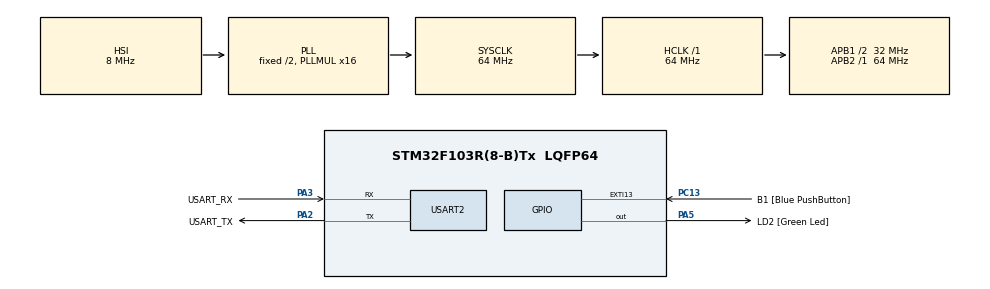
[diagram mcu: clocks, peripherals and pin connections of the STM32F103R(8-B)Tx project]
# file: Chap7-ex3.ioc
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Mcu.Family=STM32F1
Mcu.Name=STM32F103R(8-B)Tx
Mcu.Package=LQFP64
NVIC.EXTI15_10_IRQn=true\:0\:0\:false\:false\:true\:true\:true\:true
NVIC.PriorityGroup=NVIC_PRIORITYGROUP_4
PA13.GPIO_Label=TMS
PA13.Mode=Serial_Wire
PA13.Signal=SYS_JTMS-SWDIO
PA14.GPIO_Label=TCK
PA14.Mode=Serial_Wire
PA14.Signal=SYS_JTCK-SWCLK
PA2.GPIO_Label=USART_TX
PA2.GPIO_Mode=GPIO_MODE_AF_PP
PA2.GPIO_PuPd=GPIO_NOPULL
PA2.GPIO_Speed=GPIO_SPEED_FREQ_LOW
PA2.Mode=Asynchronous
PA2.Signal=USART2_TX
PA3.GPIO_Label=USART_RX
PA3.GPIO_Mode=GPIO_MODE_AF_PP
PA3.GPIO_PuPd=GPIO_NOPULL
PA3.GPIO_Speed=GPIO_SPEED_FREQ_LOW
PA3.Mode=Asynchronous
PA3.Signal=USART2_RX
PA5.GPIO_Label=LD2 [Green Led]
PA5.GPIO_ModeDefaultOutputPP=GPIO_MODE_OUTPUT_PP
PA5.GPIO_PuPd=GPIO_NOPULL
PA5.GPIO_Speed=GPIO_SPEED_FREQ_LOW
PA5.Signal=GPIO_Output
PB3.GPIO_Label=SWO
PB3.Signal=SYS_JTDO-TRACESWO
PC13-TAMPER-RTC.GPIO_Label=B1 [Blue PushButton]
PC13-TAMPER-RTC.GPIO_PuPd=GPIO_NOPULL
PC13-TAMPER-RTC.Signal=GPXTI13
PC14-OSC32_IN.Mode=LSE-External-Oscillator
PC14-OSC32_IN.Signal=RCC_OSC32_IN
PC15-OSC32_OUT.Mode=LSE-External-Oscillator
PC15-OSC32_OUT.Signal=RCC_OSC32_OUT
PD0-OSC_IN.Mode=HSE-External-Clock-Source
PD0-OSC_IN.Signal=RCC_OSC_IN
PD1-OSC_OUT.Mode=HSE-External-Clock-Source
PD1-OSC_OUT.Signal=RCC_OSC_OUT
ProjectManager.HeapSize=0x200
ProjectManager.StackSize=0x400
ProjectManager.TargetToolchain=STM32CubeIDE
RCC.AHBFreq_Value=64000000
RCC.APB1CLKDivider=RCC_HCLK_DIV2
RCC.APB1Freq_Value=32000000
RCC.APB1TimFreq_Value=64000000
RCC.APB2Freq_Value=64000000
RCC.APB2TimFreq_Value=64000000
RCC.HCLKFreq_Value=64000000
RCC.PLLMUL=RCC_PLL_MUL16
RCC.RTCClockSelection=RCC_RTCCLKSOURCE_LSE
RCC.SYSCLKFreq_VALUE=64000000
RCC.SYSCLKSource=RCC_SYSCLKSOURCE_PLLCLK
RCC.USBFreq_Value=64000000
USART2.VirtualMode=VM_ASYNC
board=NUCLEO-F103RB

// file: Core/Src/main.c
/* USER CODE BEGIN Header */
/**
  ******************************************************************************
  * @file           : main.c
  * @brief          : Main program body
  ******************************************************************************
  * @attention
  *
  * Copyright (c) 2022 STMicroelectronics.
  * All rights reserved.
  *
  * This software is licensed under terms that can be found in the LICENSE file
  * in the root directory of this software component.
  * If no LICENSE file comes with this software, it is provided AS-IS.
  *
  ******************************************************************************
  */
/* USER CODE END Header */
#include "main.h"

 UART_HandleTypeDef huart2;

void SystemClock_Config(void);
static void MX_GPIO_Init(void);
static void MX_USART2_UART_Init(void);

/* USER CODE BEGIN 0 */
uint8_t blink = 0;
/* USER CODE END 0 */

int main(void)
{
  /* USER CODE BEGIN 1 */
	GPIO_InitTypeDef GPIO_InitStruct = {0};
  /* USER CODE END 1 */

  /* MCU Configuration--------------------------------------------------------*/

  /* Reset of all peripherals, Initializes the Flash interface and the Systick. */
  HAL_Init();

  /* Configure the system clock */
  SystemClock_Config();

  /* GPIOA, GPIOB and GPIOC Configuration-------------------------------------*/
  /* GPIO Ports Clock Enable */
  __HAL_RCC_GPIOC_CLK_ENABLE();
  __HAL_RCC_GPIOB_CLK_ENABLE();
  __HAL_RCC_GPIOA_CLK_ENABLE();

  /* Configure GPIO pin : PC3 & PC2 & PC13 */
  GPIO_InitStruct.Pin = GPIO_PIN_3 | GPIO_PIN_2 | GPIO_PIN_13;
  GPIO_InitStruct.Mode = GPIO_MODE_IT_RISING;
  GPIO_InitStruct.Pull = GPIO_PULLDOWN;
  HAL_GPIO_Init(GPIOC, &GPIO_InitStruct);

  /* Configure GPIO pin : PA10 & PA5 */
  GPIO_InitStruct.Pin = GPIO_PIN_10 | GPIO_PIN_5;
  GPIO_InitStruct.Mode = GPIO_MODE_OUTPUT_PP;
  GPIO_InitStruct.Pull = GPIO_NOPULL;
  GPIO_InitStruct.Speed = GPIO_SPEED_LOW;
  HAL_GPIO_Init(GPIOA, &GPIO_InitStruct);

  /* Configure GPIO pin Outpin Level */
  HAL_GPIO_WritePin(GPIOA, GPIO_PIN_5 | GPIO_PIN_10, GPIO_PIN_SET);

  /* EXTI interrupt init */
  HAL_NVIC_SetPriority(EXTI15_10_IRQn, 0x0, 0);
  HAL_NVIC_EnableIRQ(EXTI15_10_IRQn);
  HAL_NVIC_SetPriority(EXTI3_IRQn, 0x1, 0);
  HAL_NVIC_EnableIRQ(EXTI3_IRQn);
  HAL_NVIC_SetPriority(EXTI2_IRQn, 0x2, 0);
  HAL_NVIC_EnableIRQ(EXTI2_IRQn);

  /* Initialize all configured peripherals */
  MX_GPIO_Init();
  MX_USART2_UART_Init();

  /* Infinite loop */
  while (1)
  {

  }
}

void SystemClock_Config(void)
{
  RCC_OscInitTypeDef RCC_OscInitStruct = {0};
  RCC_ClkInitTypeDef RCC_ClkInitStruct = {0};

  /** Initializes the RCC Oscillators according to the specified parameters
  * in the RCC_OscInitTypeDef structure.
  */
  RCC_OscInitStruct.OscillatorType = RCC_OSCILLATORTYPE_HSI;
  RCC_OscInitStruct.HSIState = RCC_HSI_ON;
  RCC_OscInitStruct.HSICalibrationValue = RCC_HSICALIBRATION_DEFAULT;
  RCC_OscInitStruct.PLL.PLLState = RCC_PLL_ON;
  RCC_OscInitStruct.PLL.PLLSource = RCC_PLLSOURCE_HSI_DIV2;
  RCC_OscInitStruct.PLL.PLLMUL = RCC_PLL_MUL16;
  if (HAL_RCC_OscConfig(&RCC_OscInitStruct) != HAL_OK)
  {
    Error_Handler();
  }

  /** Initializes the CPU, AHB and APB buses clocks
  */
  RCC_ClkInitStruct.ClockType = RCC_CLOCKTYPE_HCLK|RCC_CLOCKTYPE_SYSCLK
                              |RCC_CLOCKTYPE_PCLK1|RCC_CLOCKTYPE_PCLK2;
  RCC_ClkInitStruct.SYSCLKSource = RCC_SYSCLKSOURCE_PLLCLK;
  RCC_ClkInitStruct.AHBCLKDivider = RCC_SYSCLK_DIV1;
  RCC_ClkInitStruct.APB1CLKDivider = RCC_HCLK_DIV2;
  RCC_ClkInitStruct.APB2CLKDivider = RCC_HCLK_DIV1;

  if (HAL_RCC_ClockConfig(&RCC_ClkInitStruct, FLASH_LATENCY_2) != HAL_OK)
  {
    Error_Handler();
  }
}

static void MX_USART2_UART_Init(void)
{

  huart2.Instance = USART2;
  huart2.Init.BaudRate = 115200;
  huart2.Init.WordLength = UART_WORDLENGTH_8B;
  huart2.Init.StopBits = UART_STOPBITS_1;
  huart2.Init.Parity = UART_PARITY_NONE;
  huart2.Init.Mode = UART_MODE_TX_RX;
  huart2.Init.HwFlowCtl = UART_HWCONTROL_NONE;
  huart2.Init.OverSampling = UART_OVERSAMPLING_16;
  if (HAL_UART_Init(&huart2) != HAL_OK)
  {
    Error_Handler();
  }

}

static void MX_GPIO_Init(void)
{
  GPIO_InitTypeDef GPIO_InitStruct = {0};

  /* GPIO Ports Clock Enable */
  __HAL_RCC_GPIOC_CLK_ENABLE();
  __HAL_RCC_GPIOD_CLK_ENABLE();
  __HAL_RCC_GPIOA_CLK_ENABLE();
  __HAL_RCC_GPIOB_CLK_ENABLE();
}

/* USER CODE BEGIN 4 */
void EXTI2_IRQHandler(void)
{
	HAL_GPIO_EXTI_IRQHandler(GPIO_PIN_2);
}

void EXTI3_IRQHandler(void)
{
	HAL_GPIO_EXTI_IRQHandler(GPIO_PIN_3);
}

void EXTI15_10_IRQHandler(void)
{
	HAL_GPIO_EXTI_IRQHandler(GPIO_PIN_13);
}

void HAL_GPIO_EXTI_Callback(uint16_t GPIO_Pin)
{
	if(GPIO_Pin == GPIO_PIN_13)
	{
		for(int i = 0; i < 10; i++)
		{
			HAL_GPIO_TogglePin(GPIOA, GPIO_PIN_5 | GPIO_PIN_10);
			HAL_Delay(500);
		}
	}
	else if(GPIO_Pin == GPIO_PIN_2)
	{
		for(int i = 0; i < 10; i++)
		{
			HAL_GPIO_TogglePin(GPIOA, GPIO_PIN_5);
			HAL_Delay(500);
		}
	}
	else
	{
		for(int i = 0; i < 10; i++)
		{
			HAL_GPIO_TogglePin(GPIOA, GPIO_PIN_10);
			HAL_Delay(500);
		}
	}
}
/* USER CODE END 4 */

void Error_Handler(void)
{
  __disable_irq();
  while (1)
  {
  }
}
